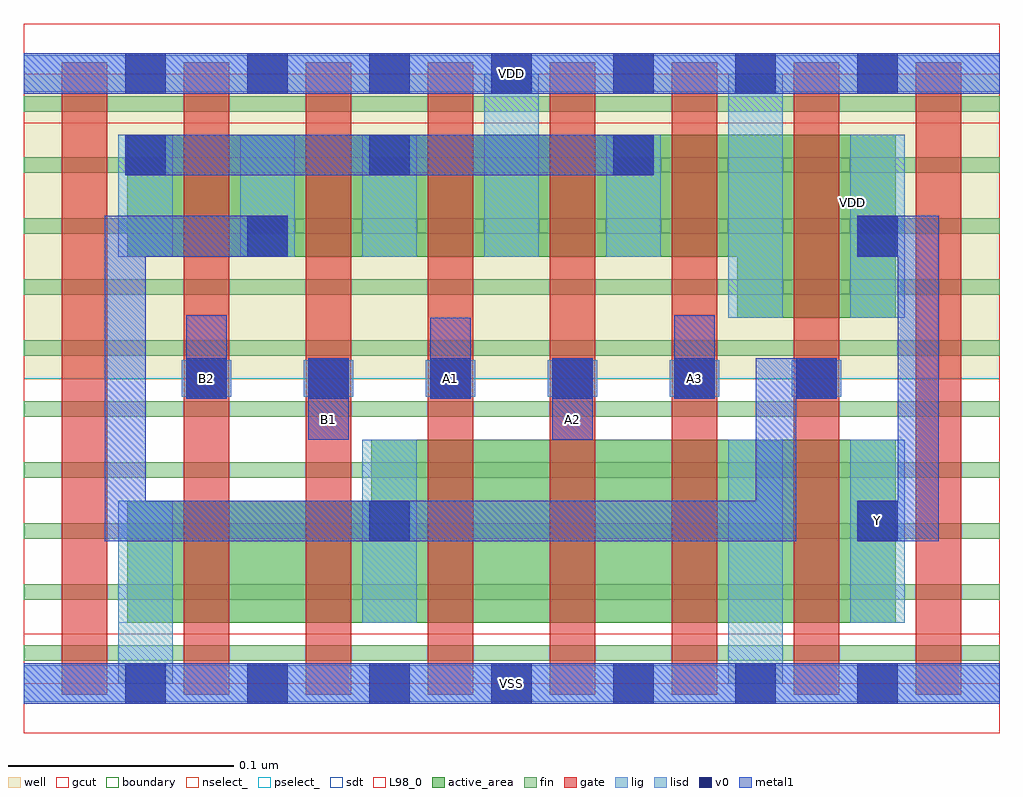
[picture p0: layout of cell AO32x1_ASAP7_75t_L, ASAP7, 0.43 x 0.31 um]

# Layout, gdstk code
import gdstk
lib = gdstk.Library(unit=1e-6, precision=2.5e-10)
def R(c, l, rs):  # rectangles x0, y0, x1, y1
    for r in rs: c.add(gdstk.rectangle(r[:2], r[2:], *l))
def A(c, l, x, y, w, h, nx, ny, dx, dy):  # array of equal rectangles
    R(c, l, [(x+i*dx, y+j*dy, x+i*dx+w, y+j*dy+h) for i in range(nx) for j in range(ny)])
def P(c, l, *ps):  # polygons
    for p in ps: c.add(gdstk.Polygon(p, *l))
well = (1, 0)
fin = (2, 0)
gate = (7, 0)
gcut = (10, 0)
active_area = (11, 0)
nselect_ = (12, 0)
pselect_ = (13, 0)
lig = (16, 0)
lisd = (17, 0)
v0 = (18, 0)
metal1 = (19, 0)
sdt = (88, 0)
L98_0 = (98, 0)
boundary = (100, 0)

ao32x1_asap7_75t_l = lib.new_cell('AO32x1_ASAP7_75t_L')
R(ao32x1_asap7_75t_l, well, [(0,0.135,0.432,0.27)])
A(ao32x1_asap7_75t_l, fin, 0, 0.01, 0.432, 0.007, 1, 10, 0, 0.027)
A(ao32x1_asap7_75t_l, gate, 0.017, -0.005, 0.02, 0.28, 8, 1, 0.054, 0)
R(ao32x1_asap7_75t_l, gcut, [(0,-0.022,0.432,0.022), (0,0.248,0.432,0.292)])
P(ao32x1_asap7_75t_l, active_area, [(0.046,0.027),(0.046,0.081),(0.154,0.081),(0.154,0.108),(0.386,0.108),(0.386,0.027)],
  [(0.316,0.162),(0.316,0.189),(0.046,0.189),(0.046,0.243),(0.386,0.243),(0.386,0.162)])
R(ao32x1_asap7_75t_l, nselect_, [(0,0,0.432,0.135)])
R(ao32x1_asap7_75t_l, pselect_, [(0,0.135,0.432,0.27)])
A(ao32x1_asap7_75t_l, lig, 0.07, 0.127, 0.022, 0.016, 6, 1, 0.054, 0)
R(ao32x1_asap7_75t_l, lig, [(0,-0.008,0.432,0.008), (0,0.262,0.432,0.278)])
A(ao32x1_asap7_75t_l, lisd, 0.042, 0.189, 0.024, 0.054, 3, 1, 0.054, 0)
R(ao32x1_asap7_75t_l, lisd, [(0.042,0,0.066,0.081), (0.312,0,0.336,0.108), (0.15,0.027,0.174,0.108), (0.366,0.027,0.39,0.108), (0.312,0.162,0.336,0.27), (0.366,0.162,0.39,0.243), (0.204,0.189,0.228,0.27), (0.258,0.189,0.282,0.243)])
A(ao32x1_asap7_75t_l, v0, 0.045, -0.009, 0.018, 0.018, 7, 2, 0.054, 0.27)
A(ao32x1_asap7_75t_l, v0, 0.072, 0.126, 0.018, 0.018, 6, 1, 0.054, 0)
A(ao32x1_asap7_75t_l, v0, 0.045, 0.225, 0.018, 0.018, 3, 1, 0.108, 0)
R(ao32x1_asap7_75t_l, v0, [(0.153,0.063,0.171,0.081), (0.369,0.063,0.387,0.081), (0.099,0.189,0.117,0.207), (0.369,0.189,0.387,0.207)])
R(ao32x1_asap7_75t_l, metal1, [(0,-0.009,0.432,0.009), (0.126,0.108,0.144,0.144), (0.234,0.108,0.252,0.144), (0.072,0.126,0.09,0.163), (0.18,0.126,0.198,0.162), (0.288,0.126,0.306,0.163), (0.045,0.225,0.279,0.243), (0,0.261,0.432,0.279)])
P(ao32x1_asap7_75t_l, metal1, [(0.369,0.063),(0.369,0.081),(0.387,0.081),(0.387,0.189),(0.369,0.189),(0.369,0.207),(0.405,0.207),(0.405,0.063)],
  [(0.036,0.063),(0.036,0.207),(0.117,0.207),(0.117,0.189),(0.054,0.189),(0.054,0.081),(0.324,0.081),(0.324,0.144),(0.36,0.144),(0.36,0.126),(0.342,0.126),(0.342,0.063)])
A(ao32x1_asap7_75t_l, sdt, 0.042, 0.189, 0.024, 0.054, 5, 1, 0.054, 0)
R(ao32x1_asap7_75t_l, sdt, [(0.042,0.027,0.066,0.081), (0.15,0.027,0.174,0.108), (0.312,0.027,0.336,0.108), (0.366,0.027,0.39,0.108), (0.312,0.162,0.336,0.243), (0.366,0.162,0.39,0.243)])
R(ao32x1_asap7_75t_l, L98_0, [(0,0,0.432,0.27)])
R(ao32x1_asap7_75t_l, boundary, [(0,0,0.432,0.27)])
ao32x1_asap7_75t_l.add(gdstk.Label('Y', (0.378,0.072), layer=19, texttype=251))
ao32x1_asap7_75t_l.add(gdstk.Label('B2', (0.081,0.135), layer=19, texttype=251))
ao32x1_asap7_75t_l.add(gdstk.Label('B1', (0.135,0.117), layer=19, texttype=251))
ao32x1_asap7_75t_l.add(gdstk.Label('A3', (0.297,0.135), layer=19, texttype=251))
ao32x1_asap7_75t_l.add(gdstk.Label('A2', (0.243,0.117), layer=19, texttype=251))
ao32x1_asap7_75t_l.add(gdstk.Label('A1', (0.189,0.135), layer=19, texttype=251))
ao32x1_asap7_75t_l.add(gdstk.Label('VSS', (0.216,0), layer=19, texttype=251))
ao32x1_asap7_75t_l.add(gdstk.Label('VDD', (0.216,0.27), layer=19, texttype=251))
ao32x1_asap7_75t_l.add(gdstk.Label('VDD', (0.367,0.213), layer=1, texttype=251))
ao32x1_asap7_75t_l.add(gdstk.Label('VSS', (0.497,0.213), layer=3, texttype=251))

lib.write_gds('AO32x1_ASAP7_75t_L.gds')
